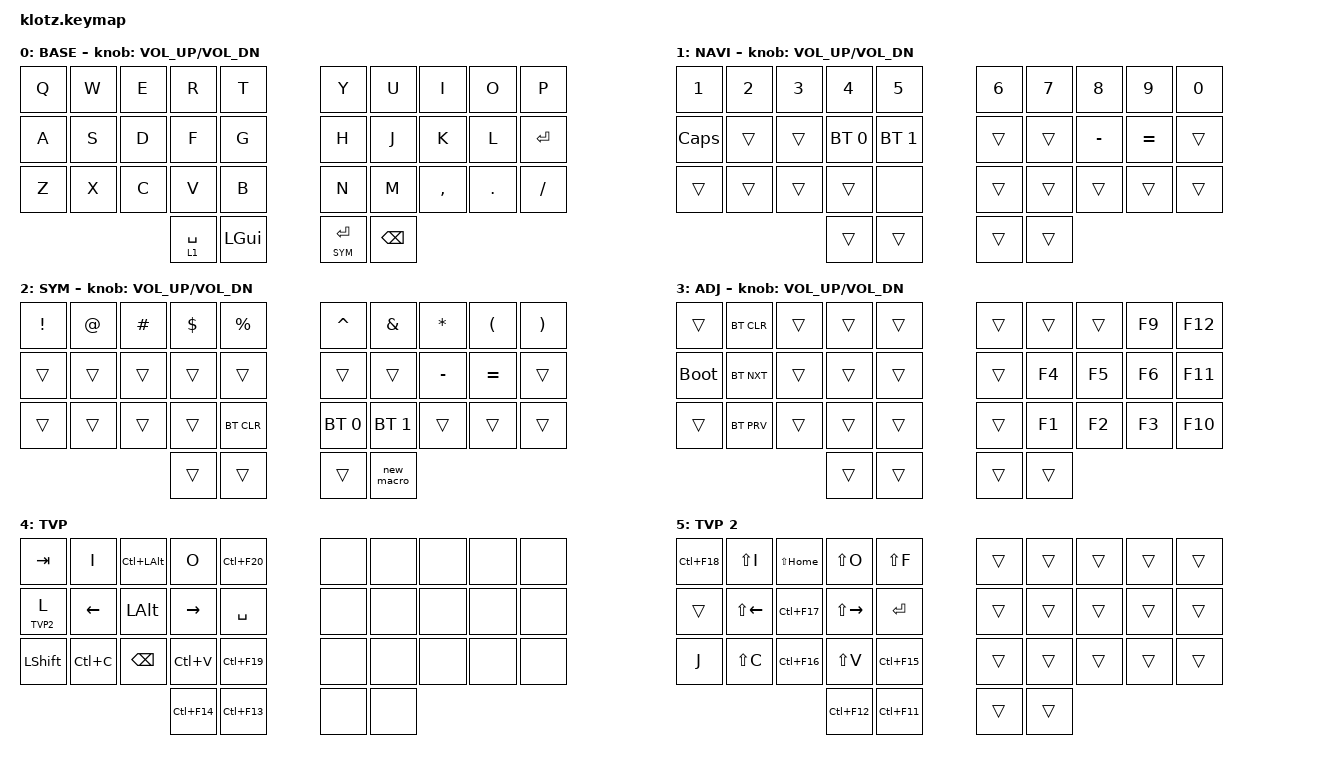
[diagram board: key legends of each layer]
//                                      █         ██        ▄▀▀▀▀▀▀▀▀▀▀█▀▀▀▀▀▀▀▀█▀▀▀▀▀▀▀▀▀▀█
//                                      █        █ █      ▄▀            ▀▄      █         █
//                                      █       █  █    ▄▀                ▀▄    █        █
//                                      █      █   █   █                    █   █       █
//                                      █     █    █   █                    █   █      █
//                                      █    █     █   █                    █   █  ▀▀▀█▀▀▀▀
//                                      █   █ █    █   █                    █   █    █
//                                      █  █   █   █   █                    █   █   █
//                                      █ █     █  █    ▀▄                ▄▀    █  █
//                                      ██       █ █      ▀▄            ▄▀      █ █
//                                      █         ██▄▄▄▄▄▄▄▄█▄▄▄▄▄▄▄▄▄▄▀        ██▄▄▄▄▄▄▄▄▄▄
//
// ▄▄▄▄▄▄▄▄▄▄▄▄▄▄▄▄▄▄▄▄▄▄▄▄▄▄▄▄▄▄▄▄▄▄▄▄▄▄▄▄▄▄▄▄▄▄▄▄▄▄▄▄▄▄▄▄▄▄▄▄▄▄▄▄▄▄▄▄▄▄▄▄▄▄▄▄▄▄▄▄▄▄▄▄▄▄▄▄▄▄▄▄▄▄▄▄▄▄▄▄▄▄▄▄▄▄▄▄▄▄▄▄▄▄▄▄▄▄▄▄▄▄▄▄▄

#include <behaviors.dtsi>
#include <dt-bindings/zmk/bt.h>
#include <dt-bindings/zmk/keys.h>

#define BASE 0
#define NAV  1
#define SYM  2
#define ADJ  3
#define TVP1 4
#define TVP2 5

&mt {
    quick-tap-ms = <100>;
    global-quick-tap;
    flavor = "tap-preferred";
    tapping-term-ms = <170>;
};

/ {
    combos {
        compatible = "zmk,combos";

        combo_esc {
            timeout-ms = <180>;
            key-positions = <0 1>;
            bindings = <&kp ESC>;
        };

        lshift {
            bindings = <&kp LEFT_SHIFT>;
            key-positions = <20 21>;
            timeout-ms = <180>;
        };

        rshift {
            bindings = <&kp RIGHT_SHIFT>;
            key-positions = <29 28>;
            timeout-ms = <180>;
        };

        lctrl {
            bindings = <&kp LCTRL>;
            key-positions = <11 12>;
            timeout-ms = <180>;
        };

        lalt {
            bindings = <&kp LEFT_ALT>;
            key-positions = <12 13>;
            timeout-ms = <180>;
        };

        caps {
            bindings = <&kp CAPSLOCK>;
            key-positions = <10 11>;
            timeout-ms = <180>;
        };
    };

    macros {
        new_macro: new_macro {
            compatible = "zmk,behavior-macro";
            #binding-cells = <0>;
            bindings = <&kp N1 &kp N5 &kp N0 &kp N5 &kp N0 &kp N7>;
            label = "NEW_MACRO";
        };
    };

    keymap {
        compatible = "zmk,keymap";

        // ▄▄▄▄▄▄▄▄▄▄▄▄▄▄▄▄▄▄▄▄▄▄▄▄▄▄▄▄▄▄▄▄▄▄▄▄▄▄▄▄▄▄▄▄▄▄▄▄▄▄▄▄▄▄▄▄▄▄▄▄▄▄▄▄▄▄▄▄▄▄▄▄▄▄▄▄▄▄▄▄▄▄▄▄▄▄▄▄▄▄▄▄▄▄▄▄▄▄▄▄▄▄▄▄▄▄▄▄▄▄▄▄▄▄▄▄▄▄▄▄▄▄▄▄▄

        base_layer {
            // ┏━━━━━━━━━━━━━━━━━━━━━━━━━━━━━━━━━━━━━━━┓

            label = "BASE";

            // ┗━━━━━━━━━━━━━━━━━━━━━━━━━━━━━━━━━━━━━━━┛
            // ┏━━━━━━━━━━━┳━━━━━━━━━━━┳━━━━━━━━━━━┳━━━━━━━━━━━┳━━━━━━━━━━━┓   ┏━━━━━━━━━━━┳━━━━━━━━━━━┳━━━━━━━━━━━┳━━━━━━━━━━━┳━━━━━━━━━━━┓
            // ┃     Q     ┃     W     ┃     F     ┃     P     ┃     G     ┃   ┃     J     ┃     L     ┃     U     ┃     Y     ┃     ;     ┃
            // ┣━━━━━━━━━━━╋━━━━━━━━━━━╋━━━━━━━━━━━╋━━━━━━━━━━━╋━━━━━━━━━━━┫   ┣━━━━━━━━━━━╋━━━━━━━━━━━╋━━━━━━━━━━━╋━━━━━━━━━━━╋━━━━━━━━━━━┫
            // ┃     A     ┃     R     ┃     S     ┃     T     ┃     D     ┃   ┃     H     ┃     N     ┃     E     ┃     I     ┃     O     ┃
            // ┣━━━━━━━━━━━╋━━━━━━━━━━━╋━━━━━━━━━━━╋━━━━━━━━━━━╋━━━━━━━━━━━┫   ┣━━━━━━━━━━━╋━━━━━━━━━━━╋━━━━━━━━━━━╋━━━━━━━━━━━╋━━━━━━━━━━━┫
            // ┃     Z     ┃     X     ┃     C     ┃     V     ┃     B     ┃   ┃     K     ┃     M     ┃     ,     ┃     .     ┃     /     ┃
            // ┗━━━━━━━━━━━┻━━━━━━━━━━━┻━━━━━━━━━━━╋━━━━━━━━━━━╋━━━━━━━━━━━┫   ┣━━━━━━━━━━━╋━━━━━━━━━━━╋━━━━━━━━━━━┻━━━━━━━━━━━┻━━━━━━━━━━━┛
            //                                     ┃    TAB    ┃    SPC    ┃   ┃   ENTER   ┃   BSPC    ┃
            //                                     ┗━━━━━━━━━━━┻━━━━━━━━━━━┛   ┗━━━━━━━━━━━┻━━━━━━━━━━━┛

            bindings = <
&kp Q  &kp W  &kp E  &kp R        &kp T     &kp Y        &kp U     &kp I      &kp O    &kp P
&kp A  &kp S  &kp D  &kp F        &kp G     &kp H        &kp J     &kp K      &kp L    &kp ENTER
&kp Z  &kp X  &kp C  &kp V        &kp B     &kp N        &kp M     &kp COMMA  &kp DOT  &kp FSLH
                     &lt 1 SPACE  &kp LGUI  &lt SYM RET  &kp BSPC
            >;

            sensor-bindings = <&inc_dec_kp C_VOL_UP C_VOL_DN>;
        };

        // ▄▄▄▄▄▄▄▄▄▄▄▄▄▄▄▄▄▄▄▄▄▄▄▄▄▄▄▄▄▄▄▄▄▄▄▄▄▄▄▄▄▄▄▄▄▄▄▄▄▄▄▄▄▄▄▄▄▄▄▄▄▄▄▄▄▄▄▄▄▄▄▄▄▄▄▄▄▄▄▄▄▄▄▄▄▄▄▄▄▄▄▄▄▄▄▄▄▄▄▄▄▄▄▄▄▄▄▄▄▄▄▄▄▄▄▄▄▄▄▄▄▄▄▄▄

        nav_layer {
            // ┏━━━━━━━━━━━━━━━━━━━━━━━━━━━━━━━━━━━━━━━┓

            label = "NAVI";

            // ┗━━━━━━━━━━━━━━━━━━━━━━━━━━━━━━━━━━━━━━━┛
            // ┏━━━━━━━━━━━┳━━━━━━━━━━━┳━━━━━━━━━━━┳━━━━━━━━━━━┳━━━━━━━━━━━┓   ┏━━━━━━━━━━━┳━━━━━━━━━━━┳━━━━━━━━━━━┳━━━━━━━━━━━┳━━━━━━━━━━━┓
            // ┃           ┃           ┃     UP    ┃           ┃     {     ┃   ┃     }     ┃     7     ┃     8     ┃     9     ┃     +     ┃
            // ┣━━━━━━━━━━━╋━━━━━━━━━━━╋━━━━━━━━━━━╋━━━━━━━━━━━╋━━━━━━━━━━━┫   ┣━━━━━━━━━━━╋━━━━━━━━━━━╋━━━━━━━━━━━╋━━━━━━━━━━━╋━━━━━━━━━━━┫
            // ┃   SHIFT   ┃   LEFT    ┃    DOWN   ┃   RIGHT   ┃     [     ┃   ┃     ]     ┃     4     ┃     5     ┃     6     ┃     -     ┃
            // ┣━━━━━━━━━━━╋━━━━━━━━━━━╋━━━━━━━━━━━╋━━━━━━━━━━━╋━━━━━━━━━━━┫   ┣━━━━━━━━━━━╋━━━━━━━━━━━╋━━━━━━━━━━━╋━━━━━━━━━━━╋━━━━━━━━━━━┫
            // ┃           ┃   P UP    ┃  C LOCK   ┃  P DOWN   ┃     (     ┃   ┃     )     ┃     1     ┃     2     ┃     3     ┃     *     ┃
            // ┗━━━━━━━━━━━┻━━━━━━━━━━━┻━━━━━━━━━━━╋━━━━━━━━━━━╋━━━━━━━━━━━┫   ┣━━━━━━━━━━━╋━━━━━━━━━━━╋━━━━━━━━━━━┻━━━━━━━━━━━┻━━━━━━━━━━━┛
            //                                     ┃           ┃           ┃   ┃    DEL    ┃     0     ┃  
            //                                     ┗━━━━━━━━━━━┻━━━━━━━━━━━┛   ┗━━━━━━━━━━━┻━━━━━━━━━━━┛

            bindings = <
&kp N1    &kp N2  &kp N3  &kp N4        &kp N5        &kp N6  &kp N7  &kp N8     &kp N9     &kp N0
&kp CAPS  &trans  &trans  &bt BT_SEL 0  &bt BT_SEL 1  &trans  &trans  &kp MINUS  &kp EQUAL  &trans
&trans    &trans  &trans  &trans        &none         &trans  &trans  &trans     &trans     &trans
                          &trans        &trans        &trans  &trans
            >;

            sensor-bindings = <&inc_dec_kp C_VOL_UP C_VOL_DN>;
        };

        // ▄▄▄▄▄▄▄▄▄▄▄▄▄▄▄▄▄▄▄▄▄▄▄▄▄▄▄▄▄▄▄▄▄▄▄▄▄▄▄▄▄▄▄▄▄▄▄▄▄▄▄▄▄▄▄▄▄▄▄▄▄▄▄▄▄▄▄▄▄▄▄▄▄▄▄▄▄▄▄▄▄▄▄▄▄▄▄▄▄▄▄▄▄▄▄▄▄▄▄▄▄▄▄▄▄▄▄▄▄▄▄▄▄▄▄▄▄▄▄▄▄▄▄▄▄

        sim_layer {
            // ┏━━━━━━━━━━━━━━━━━━━━━━━━━━━━━━━━━━━━━━━┓

            label = "SYM";

            // ┗━━━━━━━━━━━━━━━━━━━━━━━━━━━━━━━━━━━━━━━┛
            // ┏━━━━━━━━━━━┳━━━━━━━━━━━┳━━━━━━━━━━━┳━━━━━━━━━━━┳━━━━━━━━━━━┓   ┏━━━━━━━━━━━┳━━━━━━━━━━━┳━━━━━━━━━━━┳━━━━━━━━━━━┳━━━━━━━━━━━┓
            // ┃     !     ┃     @     ┃     #     ┃     $     ┃     %     ┃   ┃     ˆ     ┃     &     ┃     Ü     ┃     '     ┃     "     ┃
            // ┣━━━━━━━━━━━╋━━━━━━━━━━━╋━━━━━━━━━━━╋━━━━━━━━━━━╋━━━━━━━━━━━┫   ┣━━━━━━━━━━━╋━━━━━━━━━━━╋━━━━━━━━━━━╋━━━━━━━━━━━╋━━━━━━━━━━━┫
            // ┃     Ä     ┃           ┃    SZ     ┃           ┃           ┃   ┃   MUTE    ┃   YEN     ┃   EURO    ┃  POUND    ┃     Ö     ┃
            // ┣━━━━━━━━━━━╋━━━━━━━━━━━╋━━━━━━━━━━━╋━━━━━━━━━━━╋━━━━━━━━━━━┫   ┣━━━━━━━━━━━╋━━━━━━━━━━━╋━━━━━━━━━━━╋━━━━━━━━━━━╋━━━━━━━━━━━┫
            // ┃  EMAIL1   ┃  EMAIL2   ┃           ┃           ┃           ┃   ┃   VOL-    ┃   VOL+    ┃   LAST    ┃   NEXT    ┃     \     ┃
            // ┗━━━━━━━━━━━┻━━━━━━━━━━━┻━━━━━━━━━━━╋━━━━━━━━━━━╋━━━━━━━━━━━┫   ┣━━━━━━━━━━━╋━━━━━━━━━━━╋━━━━━━━━━━━┻━━━━━━━━━━━┻━━━━━━━━━━━┛
            //                                     ┃    GIF    ┃  ADJUST   ┃   ┃           ┃   PLAY    ┃   
            //                                     ┗━━━━━━━━━━━┻━━━━━━━━━━━┛   ┗━━━━━━━━━━━┻━━━━━━━━━━━┛

            bindings = <
&kp EXCL  &kp AT  &kp HASH  &kp DLLR  &kp PRCNT   &kp CARET     &kp AMPS      &kp ASTERISK  &kp LEFT_PARENTHESIS  &kp RIGHT_PARENTHESIS
&trans    &trans  &trans    &trans    &trans      &trans        &trans        &kp MINUS     &kp EQUAL             &trans
&trans    &trans  &trans    &trans    &bt BT_CLR  &bt BT_SEL 0  &bt BT_SEL 1  &trans        &trans                &trans
                            &trans    &trans      &trans        &new_macro
            >;

            sensor-bindings = <&inc_dec_kp C_VOL_UP C_VOL_DN>;
        };

        // ▄▄▄▄▄▄▄▄▄▄▄▄▄▄▄▄▄▄▄▄▄▄▄▄▄▄▄▄▄▄▄▄▄▄▄▄▄▄▄▄▄▄▄▄▄▄▄▄▄▄▄▄▄▄▄▄▄▄▄▄▄▄▄▄▄▄▄▄▄▄▄▄▄▄▄▄▄▄▄▄▄▄▄▄▄▄▄▄▄▄▄▄▄▄▄▄▄▄▄▄▄▄▄▄▄▄▄▄▄▄▄▄▄▄▄▄▄▄▄▄▄▄▄▄▄

        adjust_layer {
            // ┏━━━━━━━━━━━━━━━━━━━━━━━━━━━━━━━━━━━━━━━┓

            label = "ADJ";

            // ┗━━━━━━━━━━━━━━━━━━━━━━━━━━━━━━━━━━━━━━━┛
            // ┏━━━━━━━━━━━┳━━━━━━━━━━━┳━━━━━━━━━━━┳━━━━━━━━━━━┳━━━━━━━━━━━┓   ┏━━━━━━━━━━━┳━━━━━━━━━━━┳━━━━━━━━━━━┳━━━━━━━━━━━┳━━━━━━━━━━━┓
            // ┃   RESET   ┃ BT CLEAR  ┃  OUT TOG  ┃           ┃           ┃   ┃           ┃    F7     ┃    F8     ┃    F9     ┃    F12    ┃
            // ┣━━━━━━━━━━━╋━━━━━━━━━━━╋━━━━━━━━━━━╋━━━━━━━━━━━╋━━━━━━━━━━━┫   ┣━━━━━━━━━━━╋━━━━━━━━━━━╋━━━━━━━━━━━╋━━━━━━━━━━━╋━━━━━━━━━━━┫
            // ┃ BOOTLOAD  ┃ BT NEXT   ┃           ┃           ┃           ┃   ┃           ┃    F4     ┃    F5     ┃    F6     ┃    F11    ┃
            // ┣━━━━━━━━━━━╋━━━━━━━━━━━╋━━━━━━━━━━━╋━━━━━━━━━━━╋━━━━━━━━━━━┫   ┣━━━━━━━━━━━╋━━━━━━━━━━━╋━━━━━━━━━━━╋━━━━━━━━━━━╋━━━━━━━━━━━┫
            // ┃           ┃ BT PREV   ┃           ┃           ┃           ┃   ┃           ┃    F1     ┃    F2     ┃    F3     ┃    F10    ┃
            // ┗━━━━━━━━━━━┻━━━━━━━━━━━┻━━━━━━━━━━━╋━━━━━━━━━━━╋━━━━━━━━━━━┫   ┣━━━━━━━━━━━╋━━━━━━━━━━━╋━━━━━━━━━━━┻━━━━━━━━━━━┻━━━━━━━━━━━┛
            //                                     ┃           ┃           ┃   ┃           ┃           ┃
            //                                     ┗━━━━━━━━━━━┻━━━━━━━━━━━┛   ┗━━━━━━━━━━━┻━━━━━━━━━━━┛

            bindings = <
&trans       &bt BT_CLR  &trans  &trans  &trans  &trans  &trans  &trans  &kp F9  &kp F12
&bootloader  &bt BT_NXT  &trans  &trans  &trans  &trans  &kp F4  &kp F5  &kp F6  &kp F11
&trans       &bt BT_PRV  &trans  &trans  &trans  &trans  &kp F1  &kp F2  &kp F3  &kp F10
                                 &trans  &trans  &trans  &trans
            >;

            sensor-bindings = <&inc_dec_kp C_VOL_UP C_VOL_DN>;
        };

        // ▄▄▄▄▄▄▄▄▄▄▄▄▄▄▄▄▄▄▄▄▄▄▄▄▄▄▄▄▄▄▄▄▄▄▄▄▄▄▄▄▄▄▄▄▄▄▄▄▄▄▄▄▄▄▄▄▄▄▄▄▄▄▄▄▄▄▄▄▄▄▄▄▄▄▄▄▄▄▄▄▄▄▄▄▄▄▄▄▄▄▄▄▄▄▄▄▄▄▄▄▄▄▄▄▄▄▄▄▄▄▄▄▄▄▄▄▄▄▄▄▄▄▄▄▄

        tvp1_layer {
            // ┏━━━━━━━━━━━━━━━━━━━━━━━━━━━━━━━━━━━━━━━┓

            label = "TVP";

            // ┗━━━━━━━━━━━━━━━━━━━━━━━━━━━━━━━━━━━━━━━┛
            // ┏━━━━━━━━━━━┳━━━━━━━━━━━┳━━━━━━━━━━━┳━━━━━━━━━━━┳━━━━━━━━━━━┓   ┏━━━━━━━━━━━┳━━━━━━━━━━━┳━━━━━━━━━━━┳━━━━━━━━━━━┳━━━━━━━━━━━┓
            // ┃ NEXT FILE ┃ MARK IN   ┃ ROTATE    ┃ MARK OUT  ┃ SHOW SNAP ┃   ┃           ┃           ┃           ┃           ┃           ┃
            // ┣━━━━━━━━━━━╋━━━━━━━━━━━╋━━━━━━━━━━━╋━━━━━━━━━━━╋━━━━━━━━━━━┫   ┣━━━━━━━━━━━╋━━━━━━━━━━━╋━━━━━━━━━━━╋━━━━━━━━━━━╋━━━━━━━━━━━┫
            // ┃ TVP II    ┃ LEFT      ┃ PAN       ┃ RIGHT     ┃ PLAY/FLIP ┃   ┃           ┃           ┃           ┃           ┃           ┃
            // ┣━━━━━━━━━━━╋━━━━━━━━━━━╋━━━━━━━━━━━╋━━━━━━━━━━━╋━━━━━━━━━━━┫   ┣━━━━━━━━━━━╋━━━━━━━━━━━╋━━━━━━━━━━━╋━━━━━━━━━━━╋━━━━━━━━━━━┫
            // ┃ SHIFT     ┃ COPY      ┃ DELETE    ┃ PASTE     ┃ IMG MARK  ┃   ┃           ┃           ┃           ┃           ┃           ┃
            // ┗━━━━━━━━━━━┻━━━━━━━━━━━┻━━━━━━━━━━━╋━━━━━━━━━━━╋━━━━━━━━━━━┫   ┣━━━━━━━━━━━╋━━━━━━━━━━━╋━━━━━━━━━━━┻━━━━━━━━━━━┻━━━━━━━━━━━┛
            //                                     ┃ UNDO/SAVE ┃  SEL/MOV  ┃   ┃           ┃           ┃
            //                                     ┗━━━━━━━━━━━┻━━━━━━━━━━━┛   ┗━━━━━━━━━━━┻━━━━━━━━━━━┛

            bindings = <
&kp TAB     &kp I      &kp LC(LALT)  &kp O        &kp LC(F20)  &none  &none  &none  &none  &none
&lt TVP2 L  &kp LEFT   &kp LALT      &kp RIGHT    &kp SPACE    &none  &none  &none  &none  &none
&kp LSHFT   &kp LC(C)  &kp BSPC      &kp LC(V)    &kp LC(F19)  &none  &none  &none  &none  &none
                                     &kp LC(F14)  &kp LC(F13)  &none  &none
            >;
        };

        // ▄▄▄▄▄▄▄▄▄▄▄▄▄▄▄▄▄▄▄▄▄▄▄▄▄▄▄▄▄▄▄▄▄▄▄▄▄▄▄▄▄▄▄▄▄▄▄▄▄▄▄▄▄▄▄▄▄▄▄▄▄▄▄▄▄▄▄▄▄▄▄▄▄▄▄▄▄▄▄▄▄▄▄▄▄▄▄▄▄▄▄▄▄▄▄▄▄▄▄▄▄▄▄▄▄▄▄▄▄▄▄▄▄▄▄▄▄▄▄▄▄▄▄▄▄

        tvp2_layer {
            // ┏━━━━━━━━━━━━━━━━━━━━━━━━━━━━━━━━━━━━━━━┓

            label = "TVP 2";

            // ┗━━━━━━━━━━━━━━━━━━━━━━━━━━━━━━━━━━━━━━━┛
            // ┏━━━━━━━━━━━┳━━━━━━━━━━━┳━━━━━━━━━━━┳━━━━━━━━━━━┳━━━━━━━━━━━┓   ┏━━━━━━━━━━━┳━━━━━━━━━━━┳━━━━━━━━━━━┳━━━━━━━━━━━┳━━━━━━━━━━━┓
            // ┃ SOLO      ┃ TOGGLE IN ┃ RESET ROT ┃ TOGGLE OUT┃ TAKE SNAP ┃   ┃           ┃           ┃           ┃           ┃           ┃
            // ┣━━━━━━━━━━━╋━━━━━━━━━━━╋━━━━━━━━━━━╋━━━━━━━━━━━╋━━━━━━━━━━━┫   ┣━━━━━━━━━━━╋━━━━━━━━━━━╋━━━━━━━━━━━╋━━━━━━━━━━━╋━━━━━━━━━━━┫
            // ┃ ---       ┃ LAST KEY  ┃ NEW KEY   ┃ NEXT KEY  ┃ ENTER     ┃   ┃           ┃           ┃           ┃           ┃           ┃
            // ┣━━━━━━━━━━━╋━━━━━━━━━━━╋━━━━━━━━━━━╋━━━━━━━━━━━╋━━━━━━━━━━━┫   ┣━━━━━━━━━━━╋━━━━━━━━━━━╋━━━━━━━━━━━╋━━━━━━━━━━━╋━━━━━━━━━━━┫
            // ┃ FULLSCR   ┃ CPY2BRUSH ┃ DEL HEAD  ┃ PSTinPLACE┃ BOOK MARK ┃   ┃           ┃           ┃           ┃           ┃           ┃
            // ┗━━━━━━━━━━━┻━━━━━━━━━━━┻━━━━━━━━━━━╋━━━━━━━━━━━╋━━━━━━━━━━━┫   ┣━━━━━━━━━━━╋━━━━━━━━━━━╋━━━━━━━━━━━┻━━━━━━━━━━━┻━━━━━━━━━━━┛
            //                                     ┃ REDO/SAV1 ┃TRANS/WARP ┃   ┃           ┃           ┃
            //                                     ┗━━━━━━━━━━━┻━━━━━━━━━━━┛   ┗━━━━━━━━━━━┻━━━━━━━━━━━┛

            bindings = <
&kp LC(F18)  &kp LS(I)     &kp LS(HOME)  &kp LS(O)      &kp LS(F)    &trans  &trans  &trans  &trans  &trans
&trans       &kp LS(LEFT)  &kp LC(F17)   &kp LS(RIGHT)  &kp RET      &trans  &trans  &trans  &trans  &trans
&kp J        &kp LS(C)     &kp LC(F16)   &kp LS(V)      &kp LC(F15)  &trans  &trans  &trans  &trans  &trans
                                         &kp LC(F12)    &kp LC(F11)  &trans  &trans
            >;
        };
    };
};
